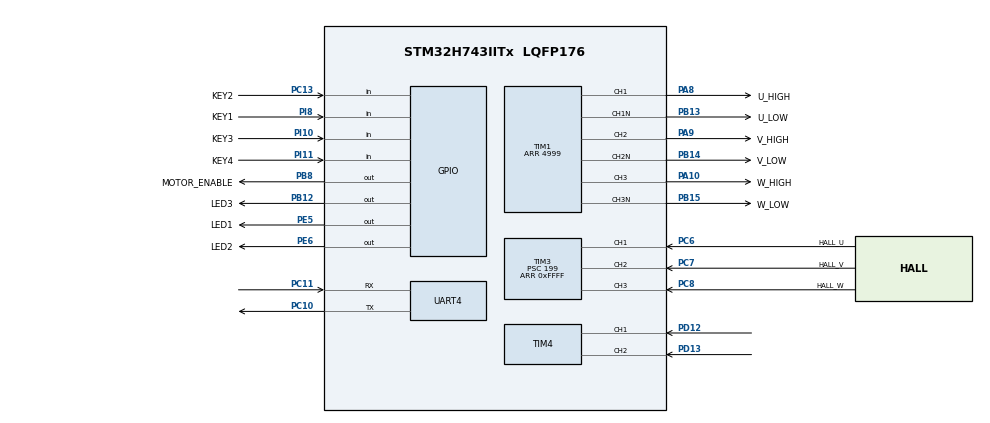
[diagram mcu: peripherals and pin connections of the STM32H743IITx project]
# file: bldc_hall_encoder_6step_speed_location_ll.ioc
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CORTEX_M7.AccessPermission_Spec=MPU_REGION_FULL_ACCESS
CORTEX_M7.BaseAddress_Spec=0x24000000
CORTEX_M7.CPU_DCache=Enabled
CORTEX_M7.CPU_ICache=Enabled
CORTEX_M7.DisableExec_Spec=MPU_INSTRUCTION_ACCESS_ENABLE
CORTEX_M7.IsCacheable_Spec=MPU_ACCESS_CACHEABLE
CORTEX_M7.IsShareable_Spec=MPU_ACCESS_SHAREABLE
CORTEX_M7.MPU_Control=MPU_HFNMI_PRIVDEF
CORTEX_M7.Size_Spec=MPU_REGION_SIZE_512KB
CORTEX_M7.SubRegionDisable_Spec=0x00
CORTEX_M7.default_mode_Activation=1
Dma.Request0=UART4_RX
Dma.UART4_RX.0.Direction=DMA_PERIPH_TO_MEMORY
Dma.UART4_RX.0.EventEnable=DISABLE
Dma.UART4_RX.0.FIFOMode=DMA_FIFOMODE_DISABLE
Dma.UART4_RX.0.Instance=DMA1_Stream0
Dma.UART4_RX.0.MemDataAlignment=DMA_MDATAALIGN_BYTE
Dma.UART4_RX.0.MemInc=DMA_MINC_ENABLE
Dma.UART4_RX.0.Mode=DMA_NORMAL
Dma.UART4_RX.0.PeriphDataAlignment=DMA_PDATAALIGN_BYTE
Dma.UART4_RX.0.PeriphInc=DMA_PINC_DISABLE
Dma.UART4_RX.0.Polarity=HAL_DMAMUX_REQ_GEN_RISING
Dma.UART4_RX.0.Priority=DMA_PRIORITY_LOW
Dma.UART4_RX.0.RequestNumber=1
Dma.UART4_RX.0.SignalID=NONE
Dma.UART4_RX.0.SyncEnable=DISABLE
Dma.UART4_RX.0.SyncPolarity=HAL_DMAMUX_SYNC_NO_EVENT
Dma.UART4_RX.0.SyncRequestNumber=1
Dma.UART4_RX.0.SyncSignalID=NONE
Mcu.Family=STM32H7
Mcu.Name=STM32H743IITx
Mcu.Package=LQFP176
NVIC.DMA1_Stream0_IRQn=true\:0\:0\:false\:false\:true\:false\:true\:true
NVIC.PriorityGroup=NVIC_PRIORITYGROUP_3
NVIC.TIM3_IRQn=true\:0\:1\:false\:false\:true\:true\:true\:true
NVIC.TIM4_IRQn=true\:0\:0\:false\:false\:true\:true\:true\:true
NVIC.UART4_IRQn=true\:1\:1\:true\:false\:true\:true\:true\:true
PA10.GPIO_Label=W_HIGH
PA10.GPIO_Speed=GPIO_SPEED_FREQ_HIGH
PA10.Signal=S_TIM1_CH3
PA13\ (JTMS/SWDIO).Mode=Serial_Wire
PA13\ (JTMS/SWDIO).Signal=DEBUG_JTMS-SWDIO
PA14\ (JTCK/SWCLK).Mode=Serial_Wire
PA14\ (JTCK/SWCLK).Signal=DEBUG_JTCK-SWCLK
PA8.GPIO_Label=U_HIGH
PA8.GPIO_Speed=GPIO_SPEED_FREQ_HIGH
PA8.Signal=S_TIM1_CH1
PA9.GPIO_Label=V_HIGH
PA9.GPIO_Speed=GPIO_SPEED_FREQ_HIGH
PA9.Signal=S_TIM1_CH2
PB12.GPIO_Label=LED3
PB12.Signal=GPIO_Output
PB13.GPIO_Label=U_LOW
PB13.GPIO_Speed=GPIO_SPEED_FREQ_HIGH
PB13.Mode=PWM Generation1 CH1 CH1N
PB13.Signal=TIM1_CH1N
PB14.GPIO_Label=V_LOW
PB14.GPIO_Speed=GPIO_SPEED_FREQ_HIGH
PB14.Mode=PWM Generation2 CH2 CH2N
PB14.Signal=TIM1_CH2N
PB15.GPIO_Label=W_LOW
PB15.GPIO_Speed=GPIO_SPEED_FREQ_HIGH
PB15.Mode=PWM Generation3 CH3 CH3N
PB15.Signal=TIM1_CH3N
PB8.GPIO_Label=MOTOR_ENABLE
PB8.GPIO_Speed=GPIO_SPEED_FREQ_HIGH
PB8.Signal=GPIO_Output
PC10.Mode=Asynchronous
PC10.Signal=UART4_TX
PC11.Mode=Asynchronous
PC11.Signal=UART4_RX
PC13.GPIO_Label=KEY2
PC13.Signal=GPIO_Input
PC6.GPIO_Label=HALL_U
PC6.Signal=S_TIM3_CH1
PC7.GPIO_Label=HALL_V
PC7.Signal=S_TIM3_CH2
PC8.GPIO_Label=HALL_W
PC8.Signal=S_TIM3_CH3
PD12.Signal=S_TIM4_CH1
PD13.Signal=S_TIM4_CH2
PE5.GPIO_Label=LED1
PE5.Signal=GPIO_Output
PE6.GPIO_Label=LED2
PE6.Signal=GPIO_Output
PH0-OSC_IN\ (PH0).Mode=HSE-External-Oscillator
PH0-OSC_IN\ (PH0).Signal=RCC_OSC_IN
PH1-OSC_OUT\ (PH1).Mode=HSE-External-Oscillator
PH1-OSC_OUT\ (PH1).Signal=RCC_OSC_OUT
PI10.GPIO_Label=KEY3
PI10.Signal=GPIO_Input
PI11.GPIO_Label=KEY4
PI11.Signal=GPIO_Input
PI8.GPIO_Label=KEY1
PI8.Signal=GPIO_Input
ProjectManager.HeapSize=0x200
ProjectManager.StackSize=0x400
ProjectManager.TargetToolchain=MDK-ARM V5.32
RCC.ADCFreq_Value=25000000
RCC.APB1Freq_Value=100000000
RCC.APB2Freq_Value=100000000
RCC.APB3Freq_Value=100000000
RCC.APB4Freq_Value=100000000
RCC.CortexFreq_Value=400000000
RCC.D1PPRE=RCC_APB3_DIV2
RCC.D2PPRE1=RCC_APB1_DIV2
RCC.D2PPRE2=RCC_APB2_DIV2
RCC.D3PPRE=RCC_APB4_DIV2
RCC.DIVM1=2
RCC.DIVM2=2
RCC.DIVM3=2
RCC.DIVN1=64
RCC.DIVN2=12
RCC.DIVN3=4
RCC.DIVP2=6
RCC.HCLKFreq_Value=200000000
RCC.HPRE=RCC_HCLK_DIV2
RCC.PLL2FRACN=0
RCC.PLL3FRACN=0
RCC.PLLFRACN=0
RCC.PLLSourceVirtual=RCC_PLLSOURCE_HSE
RCC.PWR_Regulator_Voltage_Scale=PWR_REGULATOR_VOLTAGE_SCALE0
RCC.SYSCLKFreq_VALUE=400000000
RCC.SYSCLKSource=RCC_SYSCLKSOURCE_PLLCLK
RCC.USBFreq_Value=400000000
SH.S_TIM1_CH1.0=TIM1_CH1,PWM Generation1 CH1 CH1N
SH.S_TIM1_CH2.0=TIM1_CH2,PWM Generation2 CH2 CH2N
SH.S_TIM1_CH3.0=TIM1_CH3,PWM Generation3 CH3 CH3N
SH.S_TIM3_CH1.0=TIM3_CH1,Xored_Inputs_Hall_Sensor_Interface
SH.S_TIM3_CH2.0=TIM3_CH2,Xored_Inputs_Hall_Sensor_Interface
SH.S_TIM3_CH3.0=TIM3_CH3,Xored_Inputs_Hall_Sensor_Interface
SH.S_TIM4_CH1.0=TIM4_CH1,Encoder_Interface
SH.S_TIM4_CH2.0=TIM4_CH2,Encoder_Interface
STMicroelectronics.X-CUBE-ALGOBUILD.1.3.0.LibraryCcDSPOoLibraryJjDSPOoLibrary=true
TIM1.BreakState=TIM_BREAK_ENABLE
TIM1.Channel-PWM\ Generation1\ CH1\ CH1N=TIM_CHANNEL_1
TIM1.Channel-PWM\ Generation2\ CH2\ CH2N=TIM_CHANNEL_2
TIM1.Channel-PWM\ Generation3\ CH3\ CH3N=TIM_CHANNEL_3
TIM1.CounterMode=TIM_COUNTERMODE_CENTERALIGNED1
TIM1.DeadTime=0x28
TIM1.OC1Preload_PWM=ENABLE
TIM1.OCFastMode_PWM-PWM\ Generation1\ CH1\ CH1N=TIM_OCFAST_DISABLE
TIM1.OCFastMode_PWM-PWM\ Generation2\ CH2\ CH2N=TIM_OCFAST_DISABLE
TIM1.OCFastMode_PWM-PWM\ Generation3\ CH3\ CH3N=TIM_OCFAST_DISABLE
TIM1.OffStateIDLEMode=TIM_OSSI_ENABLE
TIM1.OffStateRunMode=TIM_OSSR_ENABLE
TIM1.Period=4999
TIM3.AutoReloadPreload=TIM_AUTORELOAD_PRELOAD_ENABLE
TIM3.Commutation_Delay=3
TIM3.CounterMode=TIM_COUNTERMODE_CENTERALIGNED1
TIM3.IC1Filter=0x0E
TIM3.Period=0xFFFF
TIM3.Prescaler=199
TIM4.EncoderMode=TIM_ENCODERMODE_TI12
VP_STMicroelectronics.X-CUBE-ALGOBUILD_VS_DSPOoLibraryJjLibrary_1.3.0_1.3.0.Mode=DSPOoLibraryJjLibrary
VP_TIM1_VS_ClockSourceINT.Mode=Internal
board=custom

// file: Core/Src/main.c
/* USER CODE BEGIN Header */
/**
  ******************************************************************************
  * @file           : main.c
  * @brief          : Main program body
  ******************************************************************************
  * @attention
  *
  * Copyright (c) 2024 STMicroelectronics.
  * All rights reserved.
  *
  * This software is licensed under terms that can be found in the LICENSE file
  * in the root directory of this software component.
  * If no LICENSE file comes with this software, it is provided AS-IS.
  *
  ******************************************************************************
  */
/* USER CODE END Header */
#include "main.h"
#include "dma.h"
#include "tim.h"
#include "usart.h"
#include "gpio.h"

/* USER CODE BEGIN Includes */
#include "bsp_motor.h"
#include "bsp_hall.h"
#include "bsp_encoder.h"
#include "protocol_niming_upper.h"
#include "protocol_uart_sei.h"
#include "algorithm_pid.h"
#include "algorithm_filtering.h"
#include "math.h"
#include "debug.h"
/* USER CODE END Includes */

/* USER CODE BEGIN PV */
MotorSta_Typedef global_motorsta;
MotorDir_Typedef global_motordir;
FOLPF_HandleTypeDef global_speed_hz;
float32_t protocol_speed_hz;
#if CONTROL_CONSTANT_SPEED
float32_t global_speed_set=1000.f;
#endif
PID_LOC_HandleTypedef motor_speed_pid,motor_location_pid;
int32_t global_encoder_number;
uint32_t global_pwm_duty=0;
uint8_t global_state=0x00;
uint8_t uart_rx_buffer[UART_BUFFER_LEN];
uint16_t adc_value[3];
float32_t motor_control_val=0;
/* USER CODE END PV */

void SystemClock_Config(void);
static void MPU_Config(void);

int main(void)
{

  /* MPU Configuration--------------------------------------------------------*/
  MPU_Config();

  /* Enable the CPU Cache */

  /* Enable I-Cache---------------------------------------------------------*/
  SCB_EnableICache();

  /* Enable D-Cache---------------------------------------------------------*/
  SCB_EnableDCache();

  /* MCU Configuration--------------------------------------------------------*/

  /* Reset of all peripherals, Initializes the Flash interface and the Systick. */
  HAL_Init();

  /* Configure the system clock */
  SystemClock_Config();

  /* USER CODE BEGIN SysInit */
  SysTick_Config(SystemCoreClock/1000);

  LL_mDelay(200);

  /* USER CODE END SysInit */

  /* Initialize all configured peripherals */
  MX_GPIO_Init();
  MX_DMA_Init();
  MX_TIM1_Init();
  MX_TIM3_Init();
  MX_TIM4_Init();
  MX_UART4_Init();
  /* USER CODE BEGIN 2 */
  HALLSENSOR_TIMxStart(TIM3);
  ENCODER_TIMxStart(TIM4);

  FLOAT_FirstOrderLowPassFiltering_DataInit(&global_speed_hz,SPEED_HZ_FILTERING_ALPHA);

  PID_LOC_Init(&motor_speed_pid,round(0./60.*PPR),0.75f,0.f,0.f);
  PID_LOC_Init(&motor_location_pid,0.f,0.75f,0.0f,0.f);

  __HAL_UART_ENABLE_IT(&huart4,UART_IT_IDLE);
  HAL_UART_Receive_DMA(&huart4,(uint8_t *)uart_rx_buffer,UART_BUFFER_LEN);
  /* USER CODE END 2 */

  /* Infinite loop */
  /* USER CODE BEGIN WHILE */
  MOTOR_Start(TIM1,TIM3);
  while (1)
  {
    Protocol_UARTxRXProcess();

    if(GPIO_PIN_RESET==LL_GPIO_IsInputPinSet(KEY1_GPIO_Port,KEY1_Pin)){
      MOTOR_ENABLE();
      global_motorsta=MOTOR_STA_ENABLE;
    }

    if(GPIO_PIN_RESET==LL_GPIO_IsInputPinSet(KEY2_GPIO_Port,KEY2_Pin)){

#if BREAKING_INERTIA
      MOTOR_Breaking_Inertia();
#endif
      /*speed_duty or control_val must be zero when motor enable*/
      /********if not motor will shake while motor runing********/
      motor_control_val=0;
      MOTOR_SpeedControl(TIM1,round(motor_control_val));

      global_speed_hz.current_val     = 0;
      global_speed_hz.last_val        = 0;
      motor_speed_pid.control_val     = 0;
      motor_speed_pid.err             = 0;
      motor_speed_pid.err_last        = 0;
      motor_speed_pid.integral        = 0;
      motor_location_pid.control_val  = 0;
      motor_location_pid.err          = 0;
      motor_location_pid.err_last     = 0;
      motor_location_pid.integral     = 0;
    }

    if(global_state&0x01){
      global_speed_hz.current_val=HALLSENSOR_SpeedFrequency_Hz();
      FLOAT_FirstOrderLowPassFiltering_Process(&global_speed_hz);
      global_encoder_number=ENCODER_GetCounting(TIM4);
      if(0==global_speed_hz.current_val){
        uint8_t hall_phase=0;
        hall_phase=HALLSENSOR_GetPhase();

#if BREAKING_INERTIA
        /*aim to phase when motor enable*/
        global_pwm_duty=30;
#endif
        MOTOR_SixStepPhaseChange(TIM1,hall_phase);
        LL_TIM_GenerateEvent_COM(TIM1);
      }
      motor_control_val = PID_LOC_Process_Cascaded_TwoLoops(&motor_location_pid,&motor_speed_pid,global_encoder_number,global_speed_hz.current_val);
      if(motor_control_val<0){
        global_motordir=MOTOR_DIR_CCW;
      } else{
        global_motordir=MOTOR_DIR_CW;
      }
      MOTOR_SpeedControl(TIM1,fabs(round(motor_control_val)));
      global_state&=~0x01;
    }
    if(global_state&0x02){
      if(MOTOR_STA_DISABLE==global_motorsta){
        global_speed_hz.current_val=HALLSENSOR_SpeedFrequency_Hz();
        FLOAT_FirstOrderLowPassFiltering_Process(&global_speed_hz);
        global_encoder_number=ENCODER_GetCounting(TIM4);
      }
      if(MOTOR_DIR_CCW==global_motordir){
        protocol_speed_hz=-global_speed_hz.current_val;
      } else {
        protocol_speed_hz=global_speed_hz.current_val;
      }
      Protocol_NIMING_HallAndEncoderWihtMortor(&huart4,0xF1,protocol_speed_hz,protocol_speed_hz/PPR,(protocol_speed_hz/PPR)*60,global_encoder_number);
      global_state&=~0x02;
    }
    /* USER CODE END WHILE */

  }
}

void SystemClock_Config(void)
{
  LL_FLASH_SetLatency(LL_FLASH_LATENCY_2);
  while(LL_FLASH_GetLatency()!= LL_FLASH_LATENCY_2)
  {
  }
  LL_PWR_ConfigSupply(LL_PWR_LDO_SUPPLY);
  LL_PWR_SetRegulVoltageScaling(LL_PWR_REGU_VOLTAGE_SCALE0);
  while (LL_PWR_IsActiveFlag_VOS() == 0)
  {
  }
  LL_RCC_HSE_Enable();

   /* Wait till HSE is ready */
  while(LL_RCC_HSE_IsReady() != 1)
  {

  }
  LL_RCC_PLL_SetSource(LL_RCC_PLLSOURCE_HSE);
  LL_RCC_PLL1P_Enable();
  LL_RCC_PLL1R_Enable();
  LL_RCC_PLL1_SetVCOInputRange(LL_RCC_PLLINPUTRANGE_8_16);
  LL_RCC_PLL1_SetVCOOutputRange(LL_RCC_PLLVCORANGE_WIDE);
  LL_RCC_PLL1_SetM(2);
  LL_RCC_PLL1_SetN(64);
  LL_RCC_PLL1_SetP(2);
  LL_RCC_PLL1_SetQ(2);
  LL_RCC_PLL1_SetR(2);
  LL_RCC_PLL1_Enable();

   /* Wait till PLL is ready */
  while(LL_RCC_PLL1_IsReady() != 1)
  {
  }

   /* Intermediate AHB prescaler 2 when target frequency clock is higher than 80 MHz */
   LL_RCC_SetAHBPrescaler(LL_RCC_AHB_DIV_2);

  LL_RCC_SetSysClkSource(LL_RCC_SYS_CLKSOURCE_PLL1);

   /* Wait till System clock is ready */
  while(LL_RCC_GetSysClkSource() != LL_RCC_SYS_CLKSOURCE_STATUS_PLL1)
  {

  }
  LL_RCC_SetSysPrescaler(LL_RCC_SYSCLK_DIV_1);
  LL_RCC_SetAHBPrescaler(LL_RCC_AHB_DIV_2);
  LL_RCC_SetAPB1Prescaler(LL_RCC_APB1_DIV_2);
  LL_RCC_SetAPB2Prescaler(LL_RCC_APB2_DIV_2);
  LL_RCC_SetAPB3Prescaler(LL_RCC_APB3_DIV_2);
  LL_RCC_SetAPB4Prescaler(LL_RCC_APB4_DIV_2);
  LL_SetSystemCoreClock(400000000);

   /* Update the time base */
  if (HAL_InitTick (TICK_INT_PRIORITY) != HAL_OK)
  {
    Error_Handler();
  }
}

 /* MPU Configuration */

void MPU_Config(void)
{

  /* Disables the MPU */
  LL_MPU_Disable();

  /** Initializes and configures the Region and the memory to be protected
  */
  LL_MPU_ConfigRegion(LL_MPU_REGION_NUMBER0, 0x00, 0x24000000, LL_MPU_REGION_SIZE_512KB|LL_MPU_TEX_LEVEL0|LL_MPU_REGION_FULL_ACCESS|LL_MPU_INSTRUCTION_ACCESS_ENABLE|LL_MPU_ACCESS_SHAREABLE|LL_MPU_ACCESS_CACHEABLE|LL_MPU_ACCESS_NOT_BUFFERABLE);
  /* Enables the MPU */
  LL_MPU_Enable(LL_MPU_CTRL_HFNMI_PRIVDEF);

}

void Error_Handler(void)
{
  __disable_irq();
  while (1)
  {
  }
}
